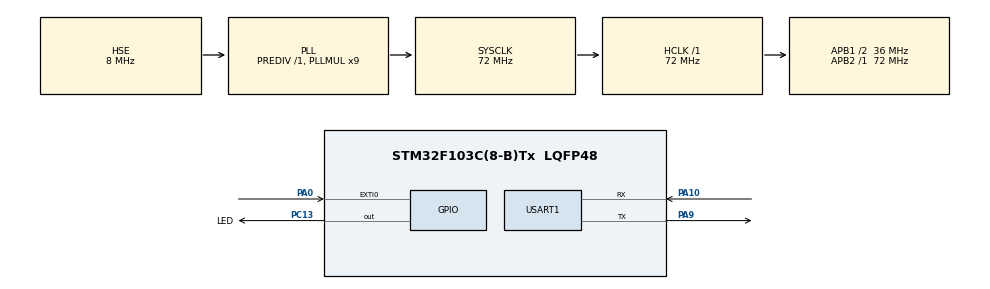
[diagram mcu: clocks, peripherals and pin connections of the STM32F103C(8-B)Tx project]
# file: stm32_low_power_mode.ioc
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Mcu.Family=STM32F1
Mcu.Name=STM32F103C(8-B)Tx
Mcu.Package=LQFP48
NVIC.EXTI0_IRQn=true\:0\:0\:false\:false\:true\:true\:true\:true
NVIC.PriorityGroup=NVIC_PRIORITYGROUP_4
NVIC.RTC_Alarm_IRQn=true\:0\:0\:false\:false\:true\:true\:true\:true
NVIC.USART1_IRQn=true\:0\:0\:false\:false\:true\:true\:true\:true
PA0-WKUP.GPIO_PuPd=GPIO_PULLDOWN
PA0-WKUP.Signal=GPXTI0
PA10.Mode=Asynchronous
PA10.Signal=USART1_RX
PA13.Mode=Serial_Wire
PA13.Signal=SYS_JTMS-SWDIO
PA14.Mode=Serial_Wire
PA14.Signal=SYS_JTCK-SWCLK
PA9.Mode=Asynchronous
PA9.Signal=USART1_TX
PC13-TAMPER-RTC.GPIO_Label=LED
PC13-TAMPER-RTC.Signal=GPIO_Output
PD0-OSC_IN.Mode=HSE-External-Oscillator
PD0-OSC_IN.Signal=RCC_OSC_IN
PD1-OSC_OUT.Mode=HSE-External-Oscillator
PD1-OSC_OUT.Signal=RCC_OSC_OUT
ProjectManager.HeapSize=0x200
ProjectManager.StackSize=0x400
ProjectManager.TargetToolchain=MDK-ARM V5.32
RCC.AHBFreq_Value=72000000
RCC.APB1CLKDivider=RCC_HCLK_DIV2
RCC.APB1Freq_Value=36000000
RCC.APB1TimFreq_Value=72000000
RCC.APB2Freq_Value=72000000
RCC.APB2TimFreq_Value=72000000
RCC.HCLKFreq_Value=72000000
RCC.PLLMUL=RCC_PLL_MUL9
RCC.PLLSourceVirtual=RCC_PLLSOURCE_HSE
RCC.SYSCLKFreq_VALUE=72000000
RCC.SYSCLKSource=RCC_SYSCLKSOURCE_PLLCLK
RCC.USBFreq_Value=72000000
USART1.VirtualMode=VM_ASYNC
VP_RTC_VS_RTC_Activate.Mode=RTC_Enabled
board=custom

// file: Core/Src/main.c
/* USER CODE BEGIN Header */
/**
  ******************************************************************************
  * @file           : main.c
  * @brief          : Main program body
  ******************************************************************************
  * @attention
  *
  * Copyright (c) 2024 STMicroelectronics.
  * All rights reserved.
  *
  * This software is licensed under terms that can be found in the LICENSE file
  * in the root directory of this software component.
  * If no LICENSE file comes with this software, it is provided AS-IS.
  *
  ******************************************************************************
  */
/* USER CODE END Header */
#include "main.h"
#include "rtc.h"
#include "usart.h"
#include "gpio.h"

/* USER CODE BEGIN Includes */
#include <stdio.h>
#include <string.h>
/* USER CODE END Includes */

/* USER CODE BEGIN PD */
// @ref AN2629
#define SLEEP_MODE		(1)		// be waked by any interrupt and wakeup-event
#define STOP_MODE		(2)		// be waked be Any EXTI line(so uart interrupt can NOT wakeup stop mode!)
								// NRST can NOT wakeup stop mode, just reset the MCU.
#define STANDBY_MODE	(3)		// be waked by wakeup key(PA0), RTC alarm, NRST, IWDG reset.
								// (Power-On reset can NOT wakeup standby mode, just reset everything and start run from beginning)
								// after config OB_STDBY_RST in Option Byte, it same as the Power-On reset.
#define LOW_POWER_MODE	SLEEP_MODE
/* USER CODE END PD */

/* USER CODE BEGIN PV */
char str[64];
uint8_t rxBuf;
/* USER CODE END PV */

void SystemClock_Config(void);
/* USER CODE BEGIN PFP */
void stm32_OB_userConfig(uint8_t cfg)
{
	FLASH_OBProgramInitTypeDef OBInit = {0};

	HAL_FLASHEx_OBGetConfig(&OBInit);
	sprintf(str, "change UserConfig: [0x%02X] to [0x%02X]\n", OBInit.USERConfig, cfg);
	HAL_UART_Transmit(&huart1, (uint8_t*)str, strlen(str), 100);
	if(OBInit.USERConfig == cfg) {
		return;
	}
	HAL_FLASH_Unlock();
	HAL_FLASH_OB_Unlock();
	OBInit.OptionType = OPTIONBYTE_USER;
	OBInit.USERConfig = cfg;
	HAL_FLASHEx_OBErase();
	if(HAL_OK == HAL_FLASHEx_OBProgram(&OBInit)) {
		HAL_FLASH_OB_Launch();
	} else {
		sprintf(str, "change UserConfig err\n");
		HAL_UART_Transmit(&huart1, (uint8_t*)str, strlen(str), 100);
	}

}

#if LOW_POWER_MODE == SLEEP_MODE
void HAL_UART_RxCpltCallback(UART_HandleTypeDef *huart)
{
	static uint8_t count = 0;

	HAL_UART_Receive_IT(huart, &rxBuf, 1);
	if(huart == &huart1) {
		sprintf(str, "UART rece[0x%02X] count[%d]\n", rxBuf, count);
		HAL_UART_Transmit(&huart1, (uint8_t*)str, strlen(str), 100);
		if(++count >= 3) {
			count = 0;
			HAL_PWR_DisableSleepOnExit();
		}
	}
}
#elif LOW_POWER_MODE == STOP_MODE
void HAL_UART_RxCpltCallback(UART_HandleTypeDef *huart)
{
	sprintf(str, "Stop mode can NOT be wakeup by Uart interrupt\n");
	HAL_UART_Transmit(&huart1, (uint8_t*)str, strlen(str), 100);
}

void HAL_GPIO_EXTI_Callback(uint16_t GPIO_Pin)
{
	static uint8_t count = 0;
	if(GPIO_Pin == GPIO_PIN_0) {
		sprintf(str, "count[%d] (uart can NOT work in stop mode)\n", count);
		HAL_UART_Transmit(&huart1, (uint8_t*)str, strlen(str), 100);
		if(++count >= 3) {
			count = 0;
			SystemClock_Config();
			HAL_PWR_DisableSleepOnExit();
		}
	}
}
#endif

void stm32_sleep_mode_test(void)
{
	sprintf(str, "Enter Sleep mode, WakeUp by send data to uart1\n");
	HAL_UART_Transmit(&huart1, (uint8_t*)str, strlen(str), 100);

	HAL_SuspendTick();	// disable systick interrupt, otherwise this will wake-up the MCU

	// if enable SleepOnExit, the MCU will auto enter sleep mode after handler the wake-up interrupt;
	// if comment this line, the MCU will be wake-up until call EnterSLEEPMode() again;
	HAL_PWR_EnableSleepOnExit();
	HAL_PWR_EnterSLEEPMode(PWR_MAINREGULATOR_ON, PWR_SLEEPENTRY_WFI);

	// MCU will stop at here and
	// waiting for interrupt to awake the MCU

	HAL_ResumeTick();	// enable systick interrupt, otherwise systick will not work
	sprintf(str, "WakeUp from sleep mode\n");
	HAL_UART_Transmit(&huart1, (uint8_t*)str, strlen(str), 100);
}

void stm32_stop_mode_test(void)
{
	sprintf(str, "Enter Stop mode, WakeUp by pull-up PA0\n");
	HAL_UART_Transmit(&huart1, (uint8_t*)str, strlen(str), 100);

	HAL_SuspendTick();	// disable systick interrupt, otherwise this will wake-up the MCU

	// if enable SleepOnExit, the MCU will auto enter sleep mode after handler the wake-up interrupt;
	// if comment this line, the MCU will be wake-up until call EnterSLEEPMode() again;
	HAL_PWR_EnableSleepOnExit();
	HAL_PWR_EnterSTOPMode(PWR_MAINREGULATOR_ON, PWR_STOPENTRY_WFI);
	//HAL_PWR_EnterSTOPMode(PWR_LOWPOWERREGULATOR_ON, PWR_STOPENTRY_WFI);

	// MCU will stop at here and
	// waiting for interrupt to awake the MCU

	HAL_ResumeTick();	// enable systick interrupt, otherwise systick will not work
	sprintf(str, "WakeUp from stop mode\n");
	HAL_UART_Transmit(&huart1, (uint8_t*)str, strlen(str), 100);
}
/* USER CODE END PFP */

int main(void)
{

  /* MCU Configuration--------------------------------------------------------*/

  /* Reset of all peripherals, Initializes the Flash interface and the Systick. */
  HAL_Init();

  /* Configure the system clock */
  SystemClock_Config();

  /* Initialize all configured peripherals */
  MX_GPIO_Init();
  MX_USART1_UART_Init();
  MX_RTC_Init();
  /* USER CODE BEGIN 2 */
	sprintf(str, "\n\n/******** STM32 Low Power Mode ********/\n");
	HAL_UART_Transmit(&huart1, (uint8_t*)str, strlen(str), 100);

	stm32_OB_userConfig(OB_IWDG_SW | OB_STOP_NO_RST | OB_STDBY_NO_RST);

	#if LOW_POWER_MODE == SLEEP_MODE
	HAL_UART_Receive_IT(&huart1, &rxBuf, 1);
	#endif

	#if LOW_POWER_MODE == STANDBY_MODE
	if(__HAL_PWR_GET_FLAG(PWR_FLAG_SB) != RESET) {	// wakeup from Standby mode
		__HAL_PWR_CLEAR_FLAG(PWR_FLAG_SB);
		sprintf(str, "wakeup from Standby mode\n");
		HAL_UART_Transmit(&huart1, (uint8_t*)str, strlen(str), 100);
		HAL_PWR_DisableWakeUpPin(PWR_WAKEUP_PIN1);
	}
	for(uint8_t i = 0; i < 6; i++) {
		HAL_GPIO_TogglePin(LED_GPIO_Port, LED_Pin);
		HAL_Delay(500);
	}
	// enter standby mode
	__HAL_PWR_CLEAR_FLAG(PWR_FLAG_WU);
	sprintf(str, "enter Standby mode\n");
	HAL_UART_Transmit(&huart1, (uint8_t*)str, strlen(str), 100);
	HAL_PWR_EnableWakeUpPin(PWR_WAKEUP_PIN1);
	HAL_PWR_EnterSTANDBYMode();
	#endif
  /* USER CODE END 2 */

  /* Infinite loop */
  /* USER CODE BEGIN WHILE */
  while (1)
  {
	for(uint8_t i = 0; i < 6; i++) {
		HAL_GPIO_TogglePin(LED_GPIO_Port, LED_Pin);
		HAL_Delay(500);
	}

	#if LOW_POWER_MODE == SLEEP_MODE
	stm32_sleep_mode_test();
	#elif LOW_POWER_MODE == STOP_MODE
	stm32_stop_mode_test();
	#endif

    /* USER CODE END WHILE */

  }
}

void SystemClock_Config(void)
{
  RCC_OscInitTypeDef RCC_OscInitStruct = {0};
  RCC_ClkInitTypeDef RCC_ClkInitStruct = {0};
  RCC_PeriphCLKInitTypeDef PeriphClkInit = {0};

  /** Initializes the RCC Oscillators according to the specified parameters
  * in the RCC_OscInitTypeDef structure.
  */
  RCC_OscInitStruct.OscillatorType = RCC_OSCILLATORTYPE_LSI|RCC_OSCILLATORTYPE_HSE;
  RCC_OscInitStruct.HSEState = RCC_HSE_ON;
  RCC_OscInitStruct.HSEPredivValue = RCC_HSE_PREDIV_DIV1;
  RCC_OscInitStruct.HSIState = RCC_HSI_ON;
  RCC_OscInitStruct.LSIState = RCC_LSI_ON;
  RCC_OscInitStruct.PLL.PLLState = RCC_PLL_ON;
  RCC_OscInitStruct.PLL.PLLSource = RCC_PLLSOURCE_HSE;
  RCC_OscInitStruct.PLL.PLLMUL = RCC_PLL_MUL9;
  if (HAL_RCC_OscConfig(&RCC_OscInitStruct) != HAL_OK)
  {
    Error_Handler();
  }

  /** Initializes the CPU, AHB and APB buses clocks
  */
  RCC_ClkInitStruct.ClockType = RCC_CLOCKTYPE_HCLK|RCC_CLOCKTYPE_SYSCLK
                              |RCC_CLOCKTYPE_PCLK1|RCC_CLOCKTYPE_PCLK2;
  RCC_ClkInitStruct.SYSCLKSource = RCC_SYSCLKSOURCE_PLLCLK;
  RCC_ClkInitStruct.AHBCLKDivider = RCC_SYSCLK_DIV1;
  RCC_ClkInitStruct.APB1CLKDivider = RCC_HCLK_DIV2;
  RCC_ClkInitStruct.APB2CLKDivider = RCC_HCLK_DIV1;

  if (HAL_RCC_ClockConfig(&RCC_ClkInitStruct, FLASH_LATENCY_2) != HAL_OK)
  {
    Error_Handler();
  }
  PeriphClkInit.PeriphClockSelection = RCC_PERIPHCLK_RTC;
  PeriphClkInit.RTCClockSelection = RCC_RTCCLKSOURCE_LSI;
  if (HAL_RCCEx_PeriphCLKConfig(&PeriphClkInit) != HAL_OK)
  {
    Error_Handler();
  }
}

void Error_Handler(void)
{
  __disable_irq();
  while (1)
  {
  }
}
